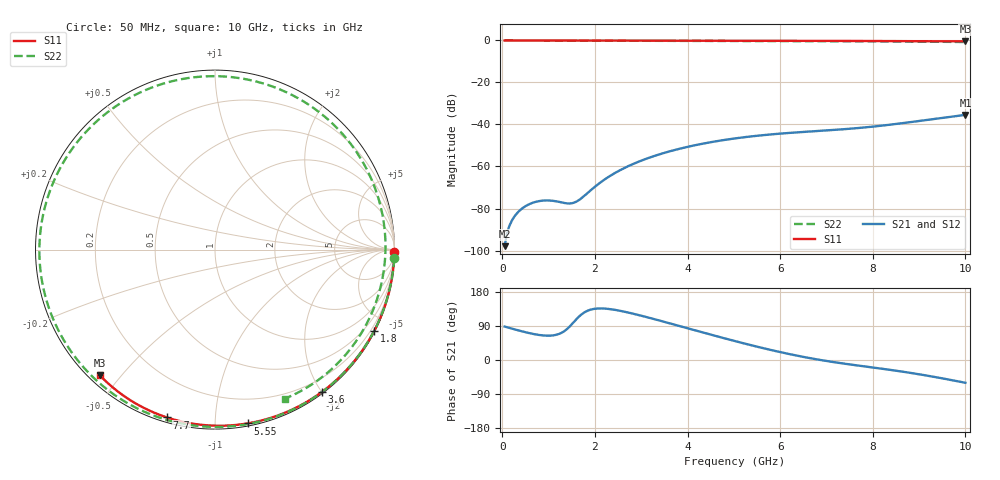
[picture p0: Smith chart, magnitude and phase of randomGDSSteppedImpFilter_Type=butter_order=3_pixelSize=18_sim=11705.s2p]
! freq	dB(S11)	phase(S11)	dB(S12)	phase(S12)
!  dB(S21)	phase(S21)	dB(S22)	phase(S22)
!S-par simulation data
#  GHz  S  DB  R 50
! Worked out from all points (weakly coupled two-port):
!   200 points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, 50 MHz to 10 GHz, reference 50 ohm
!   highest |S21| = -35.42 dB at 10 GHz (marker M1); lowest = -97.9 dB at 50 MHz (marker M2)
!   lowest |S11| = -0.4 dB at 10 GHz (marker M3), VSWR 38.95, Z = 1.53 - j21.9 ohm
!   |S11| at or under -10 dB: nowhere
!   |S22| runs from -0.8 to 0.0 dB; largest |S21 - S12| = 0
!   S11 on the Smith chart (normalised r, x): 50 MHz: open; 1.8 GHz: 0.04, -4.13; 3.6 GHz: 0.02, -2.00; 5.55 GHz: 0.02, -1.20; 7.7 GHz: 0.02, -0.75; 10 GHz: 0.03, -0.44
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0.05  -0.00 -0.8  -97.93 88.3  -97.93 88.3  -0.00 -2.8
0.4  -0.01 -6.1  -80.48 76.4  -80.48 76.4  -0.03 -22.4
0.5  -0.01 -7.6  -78.90 73.3  -78.90 73.3  -0.04 -27.9
0.95  -0.02 -14.5  -76.16 64.2  -76.16 64.2  -0.07 -52.2
1.5  -0.03 -22.7  -77.51 94.1  -77.51 94.1  -0.10 -80.5
1.75  -0.03 -26.5  -74.37 123.8  -74.37 123.8  -0.11 -92.7
1.8  -0.03 -27.2  -73.42 127.6  -73.42 127.6  -0.11 -95.1
2.15  -0.04 -32.4  -67.10 136.0  -67.10 136.0  -0.13 -111.4
2.5  -0.05 -37.5  -62.27 130.9  -62.27 130.9  -0.14 -127.1
2.95  -0.06 -44.0  -57.65 118.4  -57.65 118.4  -0.16 -146.4
3.4  -0.07 -50.4  -54.17 104.0  -54.17 104.0  -0.17 -165.1
3.6  -0.07 -53.2  -52.87 97.3  -52.87 97.3  -0.18 -173.3
4.3  -0.09 -62.8  -49.26 73.7  -49.26 73.7  -0.21 158.4
5.05  -0.11 -72.9  -46.55 49.1  -46.55 49.1  -0.25 128.0
5.55  -0.13 -79.4  -45.26 33.7  -45.26 33.7  -0.28 107.4
6.1  -0.15 -86.4  -44.18 18.2  -44.18 18.2  -0.31 84.4
6.7  -0.18 -93.9  -43.26 3.6  -43.26 3.6  -0.34 59.1
7.2  -0.21 -100.0  -42.53 -6.4  -42.53 -6.4  -0.37 38.2
7.7  -0.24 -106.0  -41.66 -14.9  -41.66 -14.9  -0.41 17.8
8.35  -0.29 -113.6  -40.16 -25.6  -40.16 -25.6  -0.47 -7.7
9.2  -0.36 -123.4  -37.76 -41.8  -37.76 -41.8  -0.59 -38.5
10  -0.45 -132.6  -35.42 -60.1  -35.42 -60.1  -0.75 -65.0
